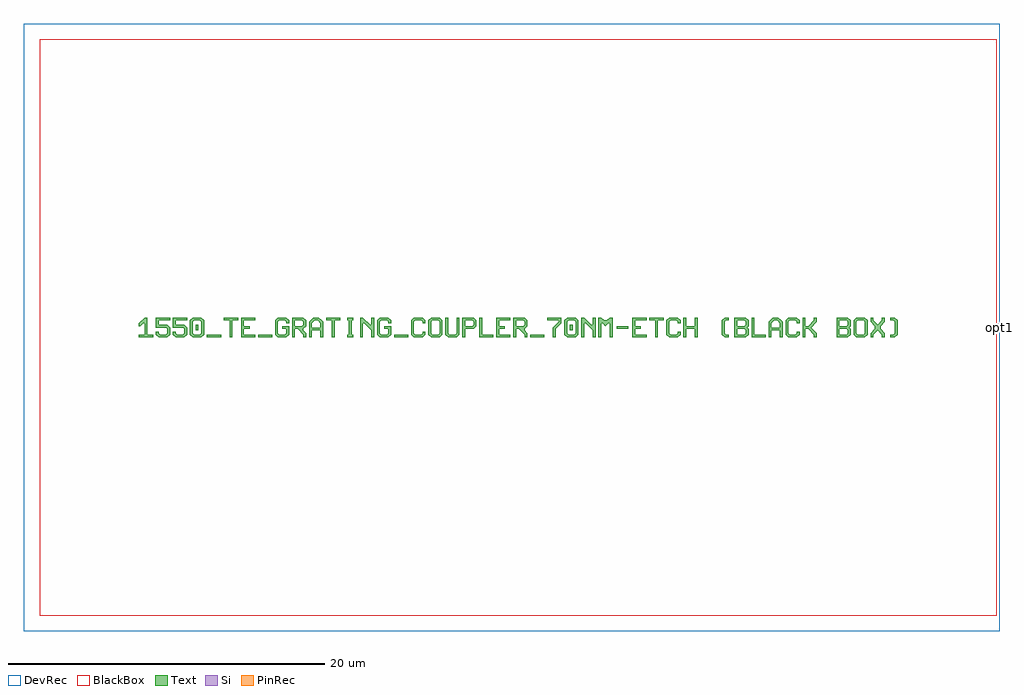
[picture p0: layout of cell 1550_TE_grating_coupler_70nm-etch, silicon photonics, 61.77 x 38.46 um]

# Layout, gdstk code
import gdstk
lib = gdstk.Library(unit=1e-6, precision=1e-09)
def R(c, l, rs):  # rectangles x0, y0, x1, y1
    for r in rs: c.add(gdstk.rectangle(r[:2], r[2:], *l))
def A(c, l, x, y, w, h, nx, ny, dx, dy):  # array of equal rectangles
    R(c, l, [(x+i*dx, y+j*dy, x+i*dx+w, y+j*dy+h) for i in range(nx) for j in range(ny)])
def P(c, l, *ps):  # polygons
    for p in ps: c.add(gdstk.Polygon(p, *l))
Si = (1, 0)
PinRec = (1, 10)
Text = (10, 0)
DevRec = (68, 0)
BlackBox = (998, 0)

text = lib.new_cell('TEXT')
A(text, Text, 7.539, 0, 0.897, 0.179, 3, 1, 8.616, 0)
R(text, Text, [(4.308,0,5.205,0.179), (3.59,0.449,3.769,0.807), (27.284,0.449,27.463,0.807), (30.246,0.538,30.963,0.718)])
P(text, Text, [(0,0),(0,0.179),(0.359,0.179),(0.359,0.897),(0.269,0.897),(0.09,0.718),(0,0.718),(0,0.897),(0.359,1.256),(0.538,1.256),(0.538,0.179),(0.897,0.179),(0.897,0)],
  [(1.256,0),(1.077,0.179),(1.077,0.359),(1.256,0.359),(1.256,0.269),(1.346,0.179),(1.705,0.179),(1.795,0.269),(1.795,0.538),(1.705,0.628),(1.077,0.628),(1.077,1.256),(1.974,1.256),(1.974,1.077),(1.256,1.077),(1.256,0.807),(1.795,0.807),(1.974,0.628),(1.974,0.179),(1.795,0)],
  [(2.333,0),(2.154,0.179),(2.154,0.359),(2.333,0.359),(2.333,0.269),(2.423,0.179),(2.782,0.179),(2.872,0.269),(2.872,0.538),(2.782,0.628),(2.154,0.628),(2.154,1.256),(3.051,1.256),(3.051,1.077),(2.333,1.077),(2.333,0.807),(2.872,0.807),(3.051,0.628),(3.051,0.179),(2.872,0)],
  [(3.41,0),(3.231,0.179),(3.231,1.077),(3.41,1.256),(3.949,1.256),(4.128,1.077),(3.5,1.077),(3.41,0.987),(3.41,0.269),(3.5,0.179),(3.859,0.179),(3.949,0.269),(3.949,0.987),(3.859,1.077),(4.128,1.077),(4.128,0.179),(3.949,0)],
  [(5.744,0),(5.744,1.077),(5.385,1.077),(5.385,1.256),(6.282,1.256),(6.282,1.077),(5.923,1.077),(5.923,0)],
  [(6.462,0),(6.462,1.256),(7.359,1.256),(7.359,1.077),(6.641,1.077),(6.641,0.718),(7,0.718),(7,0.538),(6.641,0.538),(6.641,0.179),(7.359,0.179),(7.359,0)],
  [(8.795,0),(8.616,0.179),(8.616,1.077),(8.795,1.256),(9.334,1.256),(9.513,1.077),(9.513,0.897),(9.334,0.897),(9.334,0.987),(9.244,1.077),(8.885,1.077),(8.795,0.987),(8.795,0.269),(8.885,0.179),(9.244,0.179),(9.334,0.269),(9.334,0.538),(9.065,0.538),(9.065,0.718),(9.513,0.718),(9.513,0.179),(9.334,0)],
  [(9.693,0),(9.693,1.256),(10.411,1.256),(10.59,1.077),(9.872,1.077),(9.872,0.718),(10.321,0.718),(10.411,0.807),(10.411,0.987),(10.321,1.077),(10.59,1.077),(10.59,0.718),(10.411,0.538),(10.411,0.449),(10.59,0.269),(10.59,0),(10.411,0),(10.411,0.179),(10.052,0.538),(9.872,0.538),(9.872,0)],
  [(10.77,0),(10.77,0.987),(11.039,1.256),(11.398,1.256),(11.577,1.077),(11.129,1.077),(10.949,0.897),(10.949,0.628),(11.488,0.628),(11.488,0.897),(11.308,1.077),(11.577,1.077),(11.667,0.987),(11.667,0),(11.488,0),(11.488,0.449),(10.949,0.449),(10.949,0)],
  [(12.206,0),(12.206,1.077),(11.847,1.077),(11.847,1.256),(12.744,1.256),(12.744,1.077),(12.385,1.077),(12.385,0)],
  [(13.193,0),(13.193,0.179),(13.283,0.179),(13.283,1.077),(13.193,1.077),(13.193,1.256),(13.552,1.256),(13.552,1.077),(13.462,1.077),(13.462,0.179),(13.552,0.179),(13.552,0)],
  [(14.001,0),(14.001,1.256),(14.18,1.256),(14.629,0.807),(14.719,0.807),(14.719,1.256),(14.898,1.256),(14.898,0),(14.719,0),(14.719,0.449),(14.27,0.897),(14.18,0.897),(14.18,0)],
  [(15.257,0),(15.078,0.179),(15.078,1.077),(15.257,1.256),(15.796,1.256),(15.975,1.077),(15.975,0.897),(15.796,0.897),(15.796,0.987),(15.706,1.077),(15.347,1.077),(15.257,0.987),(15.257,0.269),(15.347,0.179),(15.706,0.179),(15.796,0.269),(15.796,0.538),(15.527,0.538),(15.527,0.718),(15.975,0.718),(15.975,0.179),(15.796,0)],
  [(17.411,0),(17.232,0.179),(17.232,1.077),(17.411,1.256),(17.95,1.256),(18.129,1.077),(18.129,0.897),(17.95,0.897),(17.95,0.987),(17.86,1.077),(17.501,1.077),(17.411,0.987),(17.411,0.269),(17.501,0.179),(17.86,0.179),(17.95,0.269),(17.95,0.359),(18.129,0.359),(18.129,0.179),(17.95,0)],
  [(18.488,0),(18.309,0.179),(18.309,1.077),(18.488,1.256),(19.027,1.256),(19.206,1.077),(19.206,0.628),(19.027,0.628),(19.027,0.987),(18.937,1.077),(18.578,1.077),(18.488,0.987),(18.488,0.269),(18.578,0.179),(18.937,0.179),(19.027,0.269),(19.027,0.628),(19.206,0.628),(19.206,0.179),(19.027,0)],
  [(19.565,0),(19.386,0.179),(19.386,1.256),(19.565,1.256),(19.565,0.269),(19.655,0.179),(20.014,0.179),(20.104,0.269),(20.104,1.256),(20.283,1.256),(20.283,0.179),(20.104,0)],
  [(20.463,0),(20.463,1.256),(21.181,1.256),(21.36,1.077),(21.36,0.718),(21.181,0.538),(20.642,0.538),(20.642,0.718),(21.091,0.718),(21.181,0.807),(21.181,0.987),(21.091,1.077),(20.642,1.077),(20.642,0)],
  [(21.54,0),(21.54,1.256),(21.719,1.256),(21.719,0.179),(22.437,0.179),(22.437,0)],
  [(22.617,0),(22.617,1.256),(23.514,1.256),(23.514,1.077),(22.796,1.077),(22.796,0.718),(23.155,0.718),(23.155,0.538),(22.796,0.538),(22.796,0.179),(23.514,0.179),(23.514,0)],
  [(23.694,0),(23.694,1.256),(24.412,1.256),(24.591,1.077),(23.873,1.077),(23.873,0.718),(24.322,0.718),(24.412,0.807),(24.412,0.987),(24.322,1.077),(24.591,1.077),(24.591,0.718),(24.412,0.538),(24.412,0.449),(24.591,0.269),(24.591,0),(24.412,0),(24.412,0.179),(24.053,0.538),(23.873,0.538),(23.873,0)],
  [(26.207,0),(26.207,0.628),(26.566,0.987),(26.566,1.077),(25.848,1.077),(25.848,1.256),(26.745,1.256),(26.745,0.897),(26.386,0.538),(26.386,0)],
  [(27.104,0),(26.925,0.179),(26.925,1.077),(27.104,1.256),(27.643,1.256),(27.822,1.077),(27.194,1.077),(27.104,0.987),(27.104,0.269),(27.194,0.179),(27.553,0.179),(27.643,0.269),(27.643,0.987),(27.553,1.077),(27.822,1.077),(27.822,0.179),(27.643,0)],
  [(28.002,0),(28.002,1.256),(28.181,1.256),(28.63,0.807),(28.72,0.807),(28.72,1.256),(28.899,1.256),(28.899,0),(28.72,0),(28.72,0.449),(28.271,0.897),(28.181,0.897),(28.181,0)],
  [(29.079,0),(29.079,1.256),(29.258,1.256),(29.438,1.077),(29.617,1.077),(29.797,1.256),(29.976,1.256),(29.976,0),(29.797,0),(29.797,0.897),(29.707,0.897),(29.528,0.718),(29.348,0.897),(29.258,0.897),(29.258,0)],
  [(31.233,0),(31.233,1.256),(32.13,1.256),(32.13,1.077),(31.412,1.077),(31.412,0.718),(31.771,0.718),(31.771,0.538),(31.412,0.538),(31.412,0.179),(32.13,0.179),(32.13,0)],
  [(32.669,0),(32.669,1.077),(32.31,1.077),(32.31,1.256),(33.207,1.256),(33.207,1.077),(32.848,1.077),(32.848,0)],
  [(33.566,0),(33.387,0.179),(33.387,1.077),(33.566,1.256),(34.105,1.256),(34.284,1.077),(34.284,0.897),(34.105,0.897),(34.105,0.987),(34.015,1.077),(33.656,1.077),(33.566,0.987),(33.566,0.269),(33.656,0.179),(34.015,0.179),(34.105,0.269),(34.105,0.359),(34.284,0.359),(34.284,0.179),(34.105,0)],
  [(34.464,0),(34.464,1.256),(34.643,1.256),(34.643,0.718),(35.182,0.718),(35.182,1.256),(35.361,1.256),(35.361,0),(35.182,0),(35.182,0.538),(34.643,0.538),(34.643,0)],
  [(37.067,0),(36.887,0.179),(36.887,1.077),(37.067,1.256),(37.336,1.256),(37.336,1.077),(37.156,1.077),(37.067,0.987),(37.067,0.269),(37.156,0.179),(37.336,0.179),(37.336,0)],
  [(37.695,0),(37.695,1.256),(38.413,1.256),(38.592,1.077),(37.874,1.077),(37.874,0.718),(38.323,0.718),(38.413,0.807),(38.413,0.987),(38.323,1.077),(38.592,1.077),(38.592,0.718),(38.502,0.628),(38.592,0.538),(37.874,0.538),(37.874,0.179),(38.323,0.179),(38.413,0.269),(38.413,0.449),(38.323,0.538),(38.592,0.538),(38.592,0.179),(38.413,0)],
  [(38.772,0),(38.772,1.256),(38.951,1.256),(38.951,0.179),(39.669,0.179),(39.669,0)],
  [(39.849,0),(39.849,0.987),(40.118,1.256),(40.477,1.256),(40.656,1.077),(40.208,1.077),(40.028,0.897),(40.028,0.628),(40.567,0.628),(40.567,0.897),(40.387,1.077),(40.656,1.077),(40.746,0.987),(40.746,0),(40.567,0),(40.567,0.449),(40.028,0.449),(40.028,0)],
  [(41.105,0),(40.926,0.179),(40.926,1.077),(41.105,1.256),(41.644,1.256),(41.823,1.077),(41.823,0.897),(41.644,0.897),(41.644,0.987),(41.554,1.077),(41.195,1.077),(41.105,0.987),(41.105,0.269),(41.195,0.179),(41.554,0.179),(41.644,0.269),(41.644,0.359),(41.823,0.359),(41.823,0.179),(41.644,0)],
  [(42.003,0),(42.003,1.256),(42.182,1.256),(42.182,0.718),(42.362,0.718),(42.721,1.077),(42.721,1.256),(42.9,1.256),(42.9,0.987),(42.541,0.628),(42.9,0.269),(42.9,0),(42.721,0),(42.721,0.179),(42.362,0.538),(42.182,0.538),(42.182,0)],
  [(44.157,0),(44.157,1.256),(44.875,1.256),(45.054,1.077),(44.336,1.077),(44.336,0.718),(44.785,0.718),(44.875,0.807),(44.875,0.987),(44.785,1.077),(45.054,1.077),(45.054,0.718),(44.964,0.628),(45.054,0.538),(44.336,0.538),(44.336,0.179),(44.785,0.179),(44.875,0.269),(44.875,0.449),(44.785,0.538),(45.054,0.538),(45.054,0.179),(44.875,0)],
  [(45.413,0),(45.234,0.179),(45.234,1.077),(45.413,1.256),(45.952,1.256),(46.131,1.077),(46.131,0.628),(45.952,0.628),(45.952,0.987),(45.862,1.077),(45.503,1.077),(45.413,0.987),(45.413,0.269),(45.503,0.179),(45.862,0.179),(45.952,0.269),(45.952,0.628),(46.131,0.628),(46.131,0.179),(45.952,0)],
  [(46.311,0),(46.311,0.269),(46.58,0.538),(46.58,0.718),(46.311,0.987),(46.311,1.256),(46.49,1.256),(46.49,1.077),(46.76,0.807),(47.029,1.077),(47.029,1.256),(47.208,1.256),(47.208,0.987),(46.939,0.718),(46.939,0.538),(47.208,0.269),(47.208,0),(47.029,0),(47.029,0.179),(46.76,0.449),(46.49,0.179),(46.49,0)],
  [(47.567,0),(47.567,0.179),(47.747,0.179),(47.837,0.269),(47.837,0.987),(47.747,1.077),(47.567,1.077),(47.567,1.256),(47.837,1.256),(48.016,1.077),(48.016,0.179),(47.837,0)])

c_1550_te_grating_coupler_ = lib.new_cell('1550_TE_grating_coupler_70nm-etch')
R(c_1550_te_grating_coupler_, Si, [(29.22,-0.25,29.42,0.25)])
R(c_1550_te_grating_coupler_, DevRec, [(-32.341,-19.228,29.42,19.228)])
R(c_1550_te_grating_coupler_, BlackBox, [(-31.341,-18.228,29.22,18.228)])
c_1550_te_grating_coupler_.add(gdstk.FlexPath([(29.41,0),(29.43,0)], 0.5, ends="flush", simple_path=True, layer=1, datatype=10))  # PinRec
c_1550_te_grating_coupler_.add(gdstk.Reference(text, (-25.069,-0.628)))
c_1550_te_grating_coupler_.add(gdstk.Label('opt1', (29.42,0), layer=1, texttype=10))

lib.write_gds('1550_TE_grating_coupler_70nm-etch.gds')
